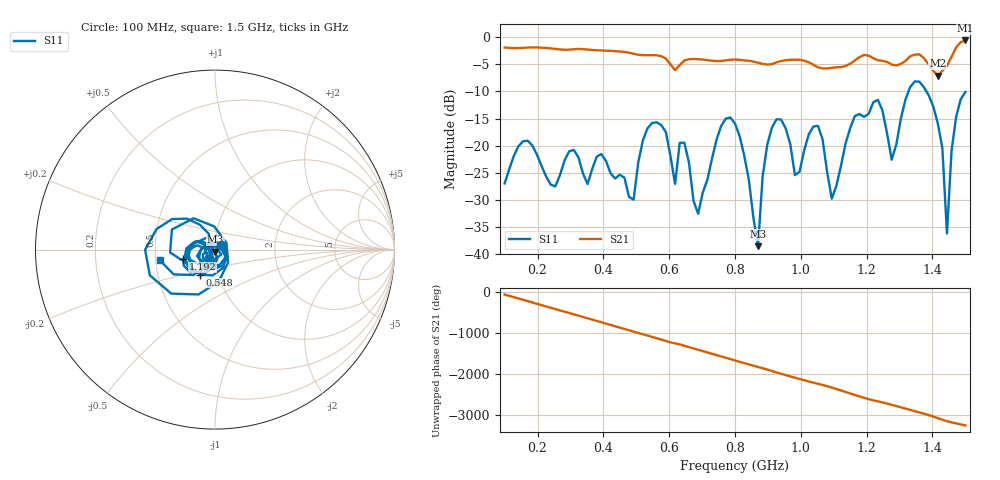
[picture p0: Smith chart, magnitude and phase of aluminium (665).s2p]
! NanoVNA-App
! Date: 2025-09-25 15:00:27
! Start: 100MHz Stop: 1,5GHz Points: 101
! S-Parameter data: F S11 S21 S12 S22
# Hz S RI R 50
!  Frequency  S11_Real  S11_Imag  S21_Real  S21_Imag  S12_Real  S12_Imag  S22_Real  S22_Imag
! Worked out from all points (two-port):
!   101 points, 100 MHz to 1.5 GHz, reference 50 ohm
!   highest |S21| = -0.62 dB at 1.5 GHz (marker M1); lowest = -7.1 dB at 1.416 GHz (marker M2)
!   |S21| within 3 dB of the highest: start of sweep to 579 MHz; 1.331 GHz to 1.369 GHz (38.33 MHz wide, 2.84 % of centre) (the widest 2 of 4)
!   lowest |S11| = -38.5 dB at 870 MHz (marker M3), VSWR 1.02, Z = 50.2 - j1.18 ohm
!   |S11| at or under -10 dB: start of sweep to 1.327 GHz; 1.382 GHz to end of sweep
!   S12 and S22 are empty: the file has one direction only
!   S11 on the Smith chart (normalised r, x): 100 MHz: 1.07, +0.06; 548 MHz: 0.82, -0.23; 1.192 GHz: 0.70, -0.08; 1.5 GHz: 0.53, -0.07
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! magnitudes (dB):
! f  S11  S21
! 100 MHz  -27.0  -1.9
! 170 MHz  -19.1  -1.9
! 338 MHz  -25.1  -2.2
! 492 MHz  -29.9  -3.1
! 548 MHz  -15.8  -3.3
! 576 MHz  -16.2  -3.5
! 646 MHz  -19.4  -4.3
! 688 MHz  -32.5  -4.1
! 800 MHz  -15.9  -4.1
! 870 MHz  -38.5  -4.7
! 912 MHz  -16.7  -5.0
! 982 MHz  -25.4  -4.2
! 1.038 GHz  -16.5  -5.1
! 1.094 GHz  -29.8  -5.7
! 1.192 GHz  -14.7  -3.3
! 1.234 GHz  -11.5  -4.3
! 1.276 GHz  -22.6  -5.1
! 1.346 GHz  -8.2  -3.2
! 1.416 GHz  -15.8  -7.1
! 1.444 GHz  -36.2  -5.3
! 1.458 GHz  -20.9  -3.6
! 1.5 GHz  -10.1  -0.6
